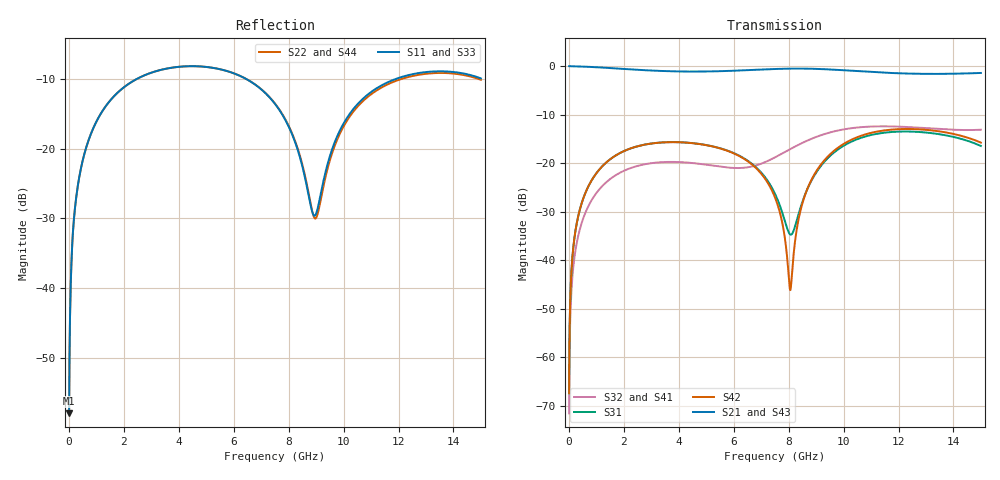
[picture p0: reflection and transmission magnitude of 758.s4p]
! Created with skrf 1.8.0 (http://scikit-rf.org).
# GHz S RI R 50.0
!freq ReS11 ImS11 ReS12 ImS12 ReS13 ImS13
! ReS14 ImS14
! ReS21 ImS21 ReS22 ImS22 ReS23 ImS23
! ReS24 ImS24
! ReS31 ImS31 ReS32 ImS32 ReS33 ImS33
! ReS34 ImS34
! ReS41 ImS41 ReS42 ImS42 ReS43 ImS43
! ReS44 ImS44
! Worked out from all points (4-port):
!   2499 points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, 5 MHz to 15 GHz, reference 50 ohm
!   strongest paths, dB at 5 MHz, 3.476 GHz, 7.19 GHz, 11.1 GHz, 15 GHz:
!     S21: 0.0, -1.0, -0.7, -1.2, -1.4
!     S43: 0.0, -1.0, -0.7, -1.2, -1.4
!     S42: -67.4, -15.7, -23.6, -13.6, -15.8
!     S31: -67.4, -15.7, -23.3, -14.1, -16.5
!     S32: -71.5, -19.8, -19.7, -12.4, -13.1
!     S41: -71.5, -19.8, -19.7, -12.5, -13.2
!   lowest |S11| = -58.0 dB at 5 MHz (marker M1), VSWR 1.00, Z = 50.1 + j0.0762 ohm
!   |S11| at or under -10 dB: start of sweep to 2.468 GHz; 6.453 GHz to 11.9 GHz (5.444 GHz wide, 59.3 % of centre)
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0.005  0.00101 0.000761  0.999 -0.00196  4.97e-05 0.000423  -4.82e-05 -0.00026
       0.999 -0.00196  0.00101 0.000761  -4.82e-05 -0.00026  4.97e-05 0.000423
       4.97e-05 0.000423  -4.82e-05 -0.00026  0.00101 0.000761  0.999 -0.00196
       -4.82e-05 -0.00026  4.97e-05 0.000423  0.999 -0.00196  0.00101 0.000761
0.3626511  0.0132 0.0592  0.9819 -0.1427  0.00613 0.03  -0.00506 -0.0185
           0.9819 -0.1427  0.0132 0.0592  -0.00507 -0.0185  0.00613 0.03
           0.00613 0.03  -0.00507 -0.0185  0.0132 0.0592  0.9819 -0.1427
           -0.00506 -0.0185  0.00613 0.03  0.9819 -0.1427  0.0132 0.0592
1.875782  0.1817 0.1905  0.7179 -0.6072  0.0977 0.0828  -0.0735 -0.0319
          0.7179 -0.6072  0.1817 0.1905  -0.0736 -0.0318  0.0976 0.0828
          0.0977 0.0828  -0.0736 -0.0318  0.1817 0.1905  0.7178 -0.6072
          -0.0735 -0.0319  0.0976 0.0828  0.7178 -0.6072  0.1817 0.1905
6.577741  0.2456 -0.1827  -0.5437 -0.7308  0.0642 -0.0803  -0.0468 0.0775
          -0.5437 -0.7308  0.2458 -0.1832  -0.0456 0.0792  0.0686 -0.0747
          0.0642 -0.0803  -0.0456 0.0792  0.2469 -0.1825  -0.5435 -0.7305
          -0.0468 0.0775  0.0686 -0.0747  -0.5435 -0.7305  0.2463 -0.1847
8.059608  0.0673 -0.118  -0.8685 -0.3655  -0.0174 -0.006  -0.0517 0.1298
          -0.8685 -0.3655  0.0672 -0.1201  -0.0487 0.131  -0.00485 -0.000817
          -0.0174 -0.006  -0.0487 0.131  0.0691 -0.1188  -0.8683 -0.3654
          -0.0517 0.1298  -0.00485 -0.000817  -0.8683 -0.3654  0.0666 -0.1219
8.772405  0.0327 -0.0257  -0.9326 -0.1211  -0.0134 0.06  -0.0215 0.1742
          -0.9326 -0.1211  0.0315 -0.0292  -0.0178 0.1746  0.00347 0.0623
          -0.0134 0.06  -0.0178 0.1746  0.0343 -0.027  -0.9326 -0.1209
          -0.0215 0.1742  0.00347 0.0623  -0.9326 -0.1209  0.0305 -0.0304
15  0.2851 -0.1438  0.2972 0.7967  0.1071 -0.1056  0.1805 -0.1223
    0.2972 0.7967  0.2869 -0.1229  0.1775 -0.132  0.1048 -0.1246
    0.1071 -0.1056  0.1775 -0.132  0.2918 -0.1401  0.2977 0.7942
    0.1805 -0.1223  0.1048 -0.1246  0.2977 0.7942  0.2911 -0.1325
